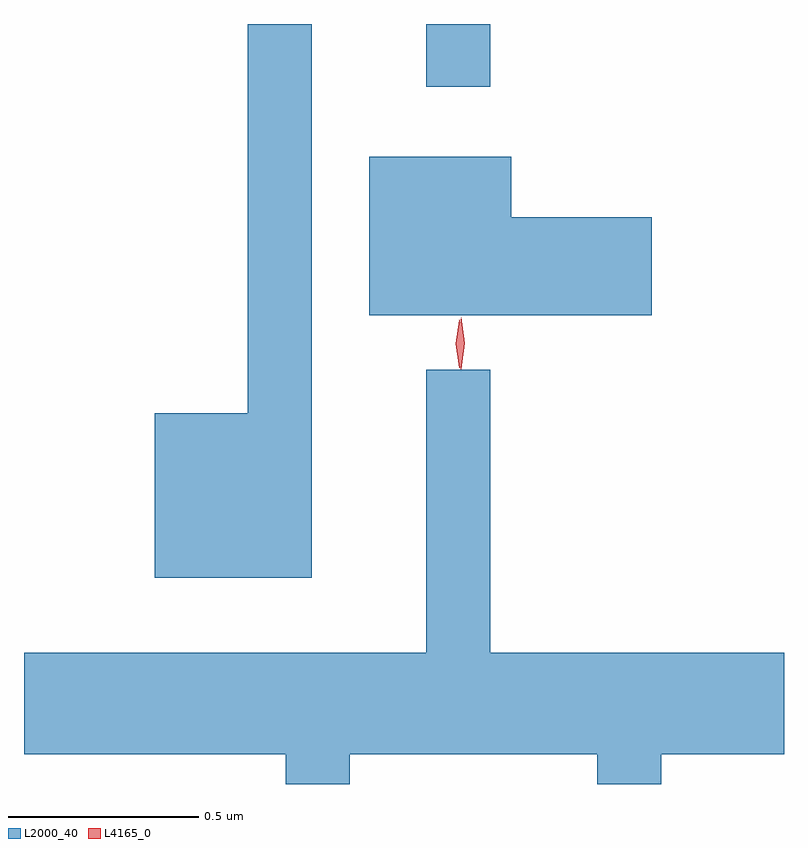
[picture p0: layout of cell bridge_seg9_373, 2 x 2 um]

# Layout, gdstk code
import gdstk
lib = gdstk.Library(unit=1e-6, precision=1e-09)
def R(c, l, rs):  # rectangles x0, y0, x1, y1
    for r in rs: c.add(gdstk.rectangle(r[:2], r[2:], *l))
def P(c, l, *ps):  # polygons
    for p in ps: c.add(gdstk.Polygon(p, *l))
L2000_40 = (2000, 40)
L4165_0 = (4165, 0)

bridge_seg9_373 = lib.new_cell('bridge_seg9_373')
R(bridge_seg9_373, L2000_40, [(764.721,1982.473,764.889,1982.638)])
P(bridge_seg9_373, L2000_40, [(764.419,1982.638),(764.251,1982.638),(764.251,1981.614),(764.006,1981.614),(764.006,1981.181),(764.419,1981.181)],
  [(765.314,1982.129),(764.944,1982.129),(764.944,1982.289),(764.571,1982.289),(764.571,1981.871),(765.314,1981.871)],
  [(764.519,1980.716),(765.171,1980.716),(765.171,1980.638),(765.339,1980.638),(765.339,1980.716),(765.662,1980.716),(765.662,1980.984),(764.889,1980.984),(764.889,1981.728),(764.721,1981.728),(764.721,1980.984),(763.662,1980.984),(763.662,1980.716),(764.351,1980.716),(764.351,1980.638),(764.519,1980.638)])
P(bridge_seg9_373, L4165_0, [(764.811,1981.73),(764.802,1981.798),(764.812,1981.866),(764.813,1981.866),(764.813,1981.866),(764.822,1981.798),(764.812,1981.73),(764.812,1981.73)],
  [(764.808,1981.733),(764.808,1981.733),(764.798,1981.796),(764.808,1981.859),(764.808,1981.86),(764.809,1981.859),(764.818,1981.796),(764.809,1981.733)])

lib.write_gds('bridge_seg9_373.gds')
